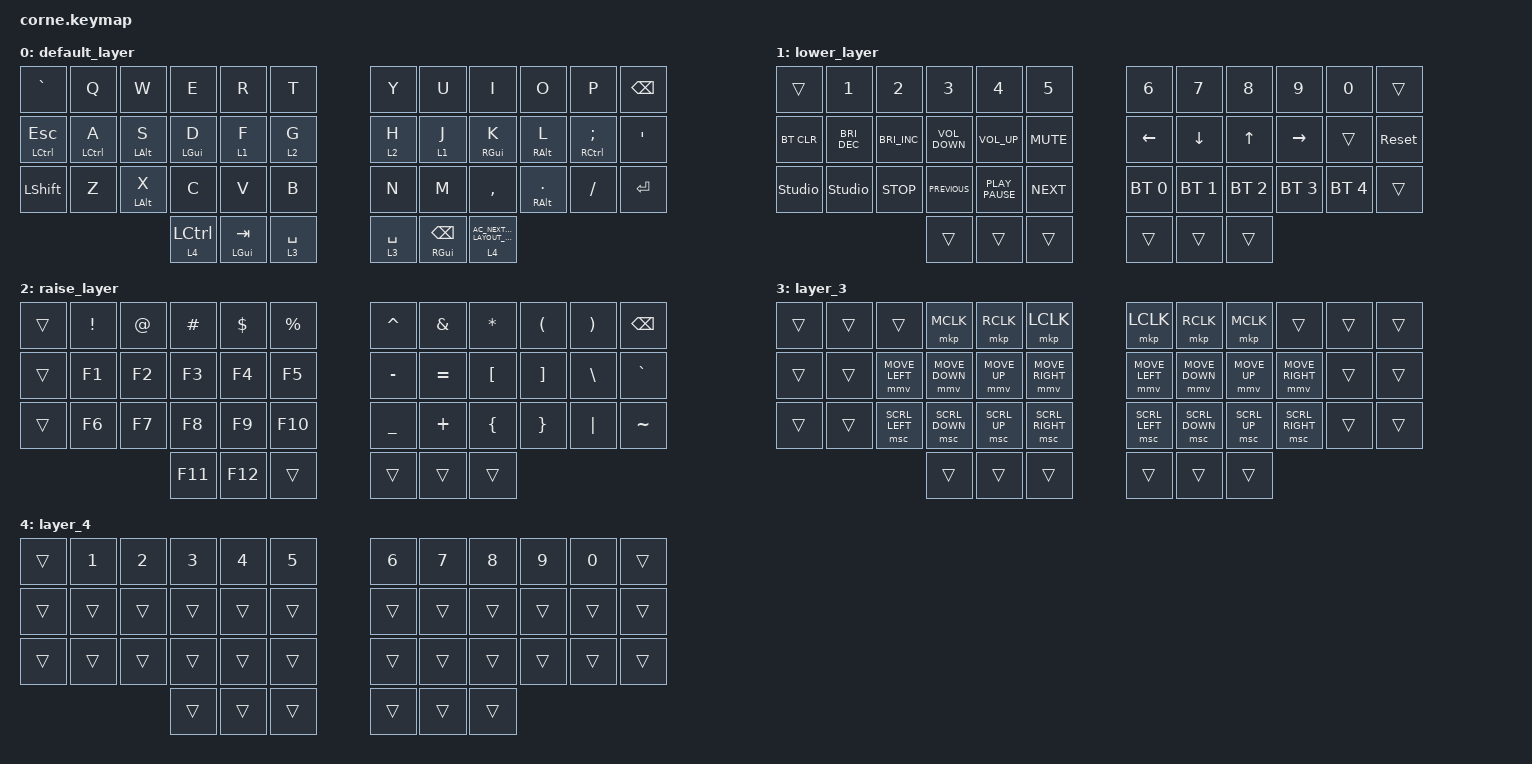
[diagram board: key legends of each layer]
/*
 * Copyright (c) 2020 The ZMK Contributors
 *
 * SPDX-License-Identifier: MIT
 */

#include <behaviors.dtsi>
#include <dt-bindings/zmk/bt.h>
#include <dt-bindings/zmk/keys.h>
#include <dt-bindings/zmk/pointing.h>

/ {
    behaviors {
        hm: hm {
            compatible = "zmk,behavior-hold-tap";
            label = "HM";
            bindings = <&kp>, <&kp>;

            #binding-cells = <2>;
            tapping-term-ms = <200>;
            quick-tap-ms = <200>;
            require-prior-idle-ms = <200>;
            flavor = "tap-preferred";
        };
    };

    combos {
        compatible = "zmk,combos";

        tab {
            bindings = <&kp TAB>;
            key-positions = <1 2>;
        };

        left_shift {
            bindings = <&kp LEFT_SHIFT>;
            key-positions = <13 14>;
        };

        right_shift {
            bindings = <&kp RIGHT_SHIFT>;
            key-positions = <21 22>;
        };

        Enter {
            bindings = <&kp ENTER>;
            key-positions = <20 21>;
        };
    };

    keymap {
        compatible = "zmk,keymap";

        default_layer {
            // -----------------------------------------------------------------------------------------
            // |  TAB |  Q  |  W  |  E  |  R  |  T  |   |  Y  |  U   |  I  |  O  |  P  | BKSP |
            // | CTRL |  A  |  S  |  D  |  F  |  G  |   |  H  |  J   |  K  |  L  |  ;  |  '   |
            // | SHFT |  Z  |  X  |  C  |  V  |  B  |   |  N  |  M   |  ,  |  .  |  /  | ESC  |
            //                    | GUI | LWR | SPC |   | ENT | RSE  | ALT |

            bindings = <
&kp GRAVE         &kp Q               &kp W           &kp E               &kp R         &kp T          &kp Y        &kp U                    &kp I                                   &kp O              &kp P                   &kp BSPC
&hm LCTRL ESCAPE  &hm LEFT_CONTROL A  &hm LEFT_ALT S  &hm LEFT_GUI D      &lt 1 F       &lt 2 G        &lt 2 H      &lt 1 J                  &hm RIGHT_GUI K                         &hm RIGHT_ALT L    &hm RIGHT_CONTROL SEMI  &kp SQT
&kp LSHFT         &kp Z               &hm LEFT_ALT X  &kp C               &kp V         &kp B          &kp N        &kp M                    &kp COMMA                               &hm RIGHT_ALT DOT  &kp FSLH                &kp ENTER
                                                      &lt 4 LEFT_CONTROL  &hm LGUI TAB  &lt 3 SPACE    &lt 3 SPACE  &hm RIGHT_GUI BACKSPACE  &lt 4 C_AC_NEXT_KEYBOARD_LAYOUT_SELECT
            >;
        };

        lower_layer {
            // -----------------------------------------------------------------------------------------
            // |  TAB |  1  |  2  |  3  |  4  |  5  |   |  6  |  7  |  8  |  9  |  0  | BKSP |
            // | BTCLR| BT1 | BT2 | BT3 | BT4 | BT5 |   | LFT | DWN |  UP | RGT |     |      |
            // | SHFT |     |     |     |     |     |   |     |     |     |     |     |      |
            //                    | GUI |     | SPC |   | ENT |     | ALT |

            bindings = <
&trans          &kp N1                &kp N2                &kp N3             &kp N4            &kp N5        &kp N6        &kp N7        &kp N8        &kp N9        &kp N0        &trans
&bt BT_CLR      &kp C_BRIGHTNESS_DEC  &kp C_BRIGHTNESS_INC  &kp C_VOLUME_DOWN  &kp C_VOLUME_UP   &kp K_MUTE    &kp LEFT      &kp DOWN      &kp UP        &kp RIGHT     &trans        &sys_reset
&studio_unlock  &studio_unlock        &kp C_STOP            &kp C_PREVIOUS     &kp K_PLAY_PAUSE  &kp C_NEXT    &bt BT_SEL 0  &bt BT_SEL 1  &bt BT_SEL 2  &bt BT_SEL 3  &bt BT_SEL 4  &trans
                                                            &trans             &trans            &trans        &trans        &trans        &trans
            >;
        };

        raise_layer {
            // -----------------------------------------------------------------------------------------
            // |  TAB |  !  |  @  |  #  |  $  |  %  |   |  ^  |  &  |  *  |  (  |  )  | BKSP |
            // | CTRL |     |     |     |     |     |   |  -  |  =  |  [  |  ]  |  \  |  `   |
            // | SHFT |     |     |     |     |     |   |  _  |  +  |  {  |  }  | "|" |  ~   |
            //                    | GUI |     | SPC |   | ENT |     | ALT |

            bindings = <
&trans  &kp EXCL  &kp AT  &kp HASH  &kp DLLR  &kp PRCNT    &kp CARET  &kp AMPS   &kp ASTRK  &kp LPAR  &kp RPAR  &kp BSPC
&trans  &kp F1    &kp F2  &kp F3    &kp F4    &kp F5       &kp MINUS  &kp EQUAL  &kp LBKT   &kp RBKT  &kp BSLH  &kp GRAVE
&trans  &kp F6    &kp F7  &kp F8    &kp F9    &kp F10      &kp UNDER  &kp PLUS   &kp LBRC   &kp RBRC  &kp PIPE  &kp TILDE
                          &kp F11   &kp F12   &trans       &trans     &trans     &trans
            >;
        };

        layer_3 {
            bindings = <
&trans  &trans  &trans          &mkp MCLK       &mkp RCLK     &mkp LCLK          &mkp LCLK       &mkp RCLK       &mkp MCLK     &trans           &trans  &trans
&trans  &trans  &mmv MOVE_LEFT  &mmv MOVE_DOWN  &mmv MOVE_UP  &mmv MOVE_RIGHT    &mmv MOVE_LEFT  &mmv MOVE_DOWN  &mmv MOVE_UP  &mmv MOVE_RIGHT  &trans  &trans
&trans  &trans  &msc SCRL_LEFT  &msc SCRL_DOWN  &msc SCRL_UP  &msc SCRL_RIGHT    &msc SCRL_LEFT  &msc SCRL_DOWN  &msc SCRL_UP  &msc SCRL_RIGHT  &trans  &trans
                                &trans          &trans        &trans             &trans          &trans          &trans
            >;
        };

        layer_4 {
            bindings = <
&trans  &kp N1  &kp N2  &kp N3  &kp N4  &kp N5    &kp N6  &kp N7  &kp N8  &kp N9  &kp N0  &trans
&trans  &trans  &trans  &trans  &trans  &trans    &trans  &trans  &trans  &trans  &trans  &trans
&trans  &trans  &trans  &trans  &trans  &trans    &trans  &trans  &trans  &trans  &trans  &trans
                        &trans  &trans  &trans    &trans  &trans  &trans
            >;
        };
    };
};
